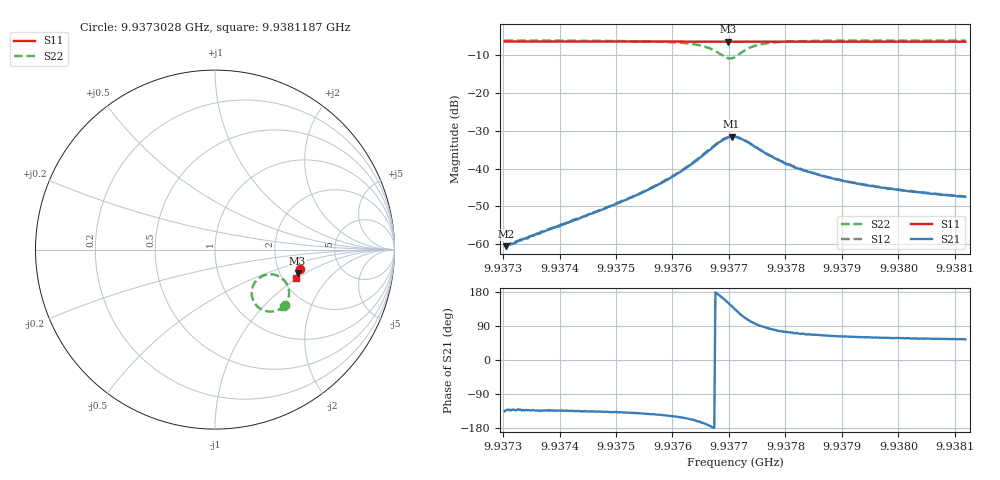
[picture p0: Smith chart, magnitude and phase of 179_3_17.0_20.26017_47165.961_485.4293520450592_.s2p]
#  HZ  S  RI  R  50.00
! Rohde & Schwarz Vector Network Analyzer
! Rohde-Schwarz,ZNB20-2Port,1311601062101988,3.16
! Created: UTC 3/20/2024, 11:00:05 PM
! freq[Hz]  re:S11  im:S11  re:S21  im:S21  re:S12  im:S12  re:S22  im:S22
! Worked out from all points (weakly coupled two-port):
!   401 points, 9.9373028 GHz to 9.9381187 GHz, reference 50 ohm
!   highest |S21| = -31.56 dB at 9.9377046 GHz (marker M1); lowest = -60.6 dB at 9.9373048 GHz (marker M2)
!   lowest |S11| = -6.4 dB at 9.9376985 GHz (marker M3), VSWR 2.84, Z = 125 - j42.7 ohm
!   |S11| at or under -10 dB: nowhere
!   |S22| runs from -10.8 to -6.0 dB; largest |S21 - S12| = 0.0013
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9.93730278e9  0.4716 -0.1066  -0.000688 -0.000684  -0.000648 -0.000694  0.3886 -0.3107
9.93730481e9  0.4716 -0.1068  -0.000638 -0.000684  -0.000639 -0.000688  0.3888 -0.311
9.93731909e9  0.4712 -0.1077  -0.00067 -0.000771  -0.00071 -0.000784  0.3871 -0.3121
9.93743943e9  0.4686 -0.1158  -0.00161 -0.00159  -0.0016 -0.00159  0.3735 -0.3235
9.93751694e9  0.4669 -0.1211  -0.00287 -0.00252  -0.00296 -0.00253  0.3583 -0.333
9.93757609e9  0.4654 -0.1252  -0.00505 -0.00361  -0.00517 -0.00359  0.3369 -0.342
9.93761893e9  0.4643 -0.1282  -0.00849 -0.00443  -0.00873 -0.00435  0.3059 -0.3455
9.93765564e9  0.4626 -0.1307  -0.0148 -0.00344  -0.0154 -0.00322  0.2538 -0.3302
9.93766992e9  0.4617 -0.1314  -0.0187 -0.000899  -0.0192 -0.000653  0.2262 -0.3053
9.93768216e9  0.461 -0.1317  -0.022 0.00313  -0.0223 0.00397  0.2074 -0.2663
9.93769848e9  0.4602 -0.1317  -0.0226 0.0124  -0.0224 0.0137  0.2169 -0.1917
9.9377046e9  0.4603 -0.1316  -0.0208 0.0162  -0.0205 0.0172  0.2365 -0.1662
9.93771072e9  0.4603 -0.1315  -0.0182 0.019  -0.0176 0.02  0.2624 -0.1481
9.93772091e9  0.4607 -0.1318  -0.0123 0.0216  -0.0117 0.0221  0.31 -0.1375
9.93773519e9  0.4614 -0.1326  -0.00564 0.0213  -0.00501 0.0216  0.3627 -0.1528
9.93775763e9  0.4615 -0.1346  0.00027 0.0172  0.000756 0.0172  0.401 -0.1941
9.93780046e9  0.461 -0.1378  0.00311 0.0114  0.00339 0.0113  0.4125 -0.2465
9.93782086e9  0.4606 -0.1396  0.00322 0.00958  0.00366 0.00956  0.411 -0.2611
9.93784737e9  0.4601 -0.1413  0.0034 0.00808  0.00359 0.00801  0.4077 -0.2745
9.93790857e9  0.4585 -0.1456  0.00318 0.00592  0.00332 0.00591  0.3998 -0.2935
9.93798403e9  0.4565 -0.1506  0.00283 0.00463  0.00296 0.00462  0.3917 -0.3073
9.93811866e9  0.4531 -0.1593  0.00247 0.00343  0.00253 0.00341  0.3802 -0.3221
